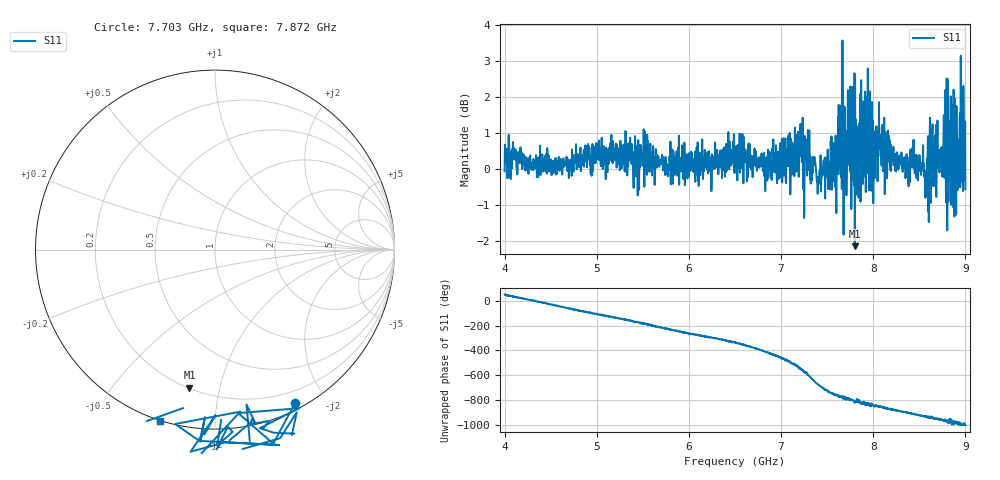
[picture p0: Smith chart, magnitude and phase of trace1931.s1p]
! Created with skrf 1.8.0 (http://scikit-rf.org).
# Hz S RI R 50.0
!freq ReS11 ImS11
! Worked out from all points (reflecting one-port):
!   1601 points, 4 GHz to 9 GHz, reference 50 ohm
!   lowest |S11| = -2.1 dB at 7.8 GHz (marker M1), VSWR 8.18, Z = 10.2 - j40.6 ohm
!   phase of S11 starts at 52 deg and turns -1055 deg over the sweep
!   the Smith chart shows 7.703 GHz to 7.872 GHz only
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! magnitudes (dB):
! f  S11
! 4 GHz  -0.1
! 4.1 GHz  0.4
! 4.625 GHz  -0.1
! 4.897 GHz  0.2
! 5.25 GHz  0.0
! 5.875 GHz  0.1
! 6.5 GHz  0.6
! 7.125 GHz  0.4
! 7.209 GHz  1.3
! 7.409 GHz  -0.4
! 7.591 GHz  0.9
! 7.65 GHz  0.0
! 7.75 GHz  -0.1
! 7.8 GHz  -2.1
! 7.825 GHz  1.2
! 7.928 GHz  2.0
! 7.997 GHz  0.8
! 8.088 GHz  0.2
! 8.128 GHz  0.4
! 8.375 GHz  -0.1
! 8.441 GHz  0.0
! 8.578 GHz  -0.7
! 8.656 GHz  0.4
! 8.734 GHz  0.5
! 8.788 GHz  -0.6
! 8.919 GHz  -0.1
! 8.959 GHz  2.1
! 9 GHz  -0.6
